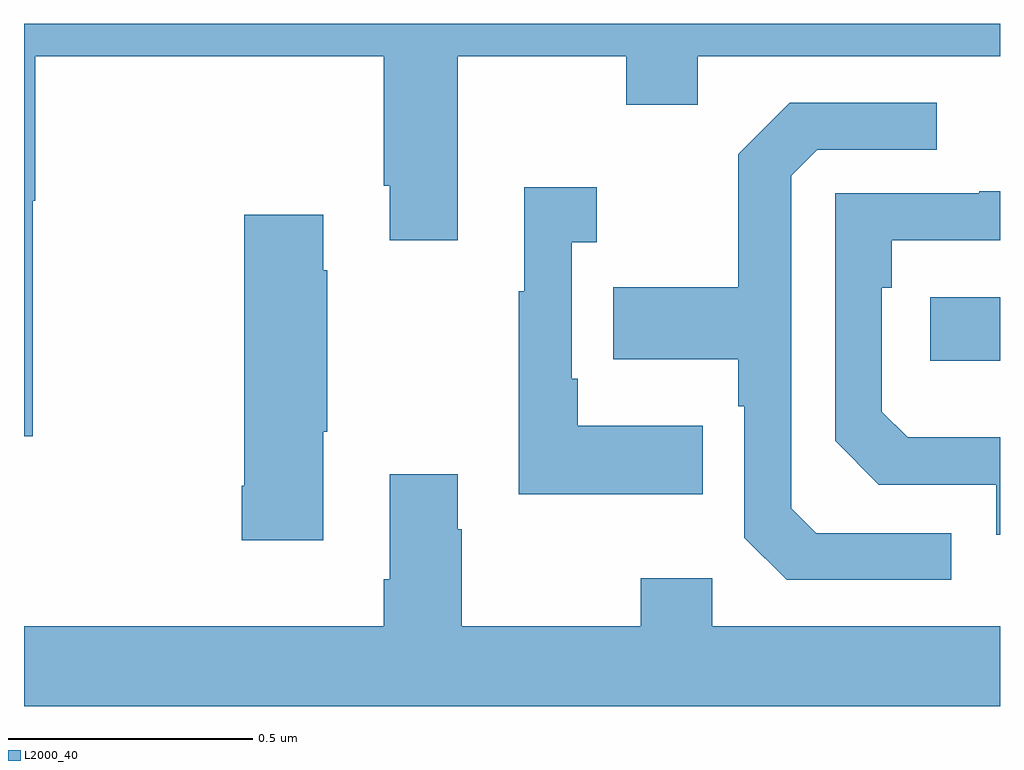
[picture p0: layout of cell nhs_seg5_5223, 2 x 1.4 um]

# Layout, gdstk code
import gdstk
lib = gdstk.Library(unit=1e-6, precision=1e-09)
def R(c, l, rs):  # rectangles x0, y0, x1, y1
    for r in rs: c.add(gdstk.rectangle(r[:2], r[2:], *l))
def P(c, l, *ps):  # polygons
    for p in ps: c.add(gdstk.Polygon(p, *l))
L2000_40 = (2000, 40)

nhs_seg5_5223 = lib.new_cell('nhs_seg5_5223')
R(nhs_seg5_5223, L2000_40, [(181.857,884.108,182,884.238)])
P(nhs_seg5_5223, L2000_40, [(180.018,884.436),(180.023,884.436),(180.023,884.732),(180.737,884.732),(180.737,884.467),(180.749,884.467),(180.749,884.355),(180.889,884.355),(180.889,884.732),(181.234,884.732),(181.234,884.633),(181.381,884.633),(181.381,884.732),(182,884.732),(182,884.799),(180,884.799),(180,883.953),(180.018,883.953)],
  [(181.9,883.755),(181.623,883.755),(181.572,883.806),(181.572,884.487),(181.626,884.541),(181.87,884.541),(181.87,884.637),(181.569,884.637),(181.464,884.531),(181.464,884.259),(181.207,884.259),(181.207,884.111),(181.464,884.111),(181.464,884.015),(181.476,884.015),(181.476,883.746),(181.563,883.659),(181.9,883.659)],
  [(181.391,883.975),(181.135,883.975),(181.135,884.071),(181.122,884.071),(181.122,884.351),(181.174,884.351),(181.174,884.464),(181.025,884.464),(181.025,884.251),(181.014,884.251),(181.014,883.835),(181.391,883.835)],
  [(182,883.951),(181.811,883.951),(181.758,884.004),(181.758,884.258),(181.778,884.258),(181.778,884.355),(182,884.355),(182,884.456),(181.957,884.456),(181.957,884.451),(181.662,884.451),(181.662,883.944),(181.752,883.854),(181.992,883.854),(181.992,883.752),(182,883.752)],
  [(180.613,883.963),(180.621,883.963),(180.621,884.294),(180.613,884.294),(180.613,884.407),(180.451,884.407),(180.451,883.852),(180.446,883.852),(180.446,883.74),(180.613,883.74)],
  [(182,883.564),(181.41,883.564),(181.41,883.663),(181.264,883.663),(181.264,883.564),(180.897,883.564),(180.897,883.763),(180.889,883.763),(180.889,883.876),(180.749,883.876),(180.749,883.66),(180.737,883.66),(180.737,883.564),(180,883.564),(180,883.4),(182,883.4)])

lib.write_gds('nhs_seg5_5223.gds')
